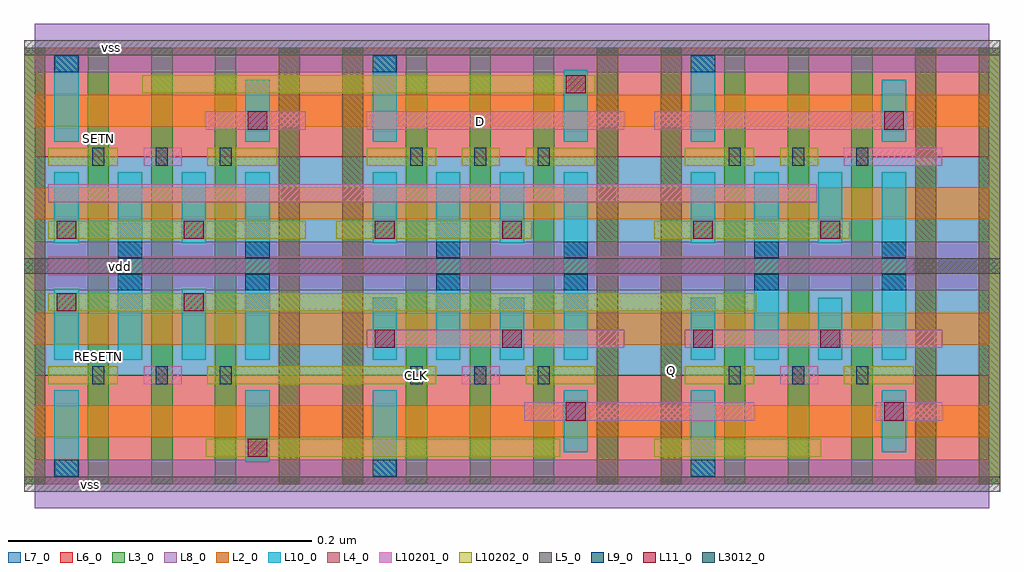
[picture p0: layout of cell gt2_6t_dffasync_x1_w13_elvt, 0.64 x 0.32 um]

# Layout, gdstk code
import gdstk
lib = gdstk.Library(unit=1e-6, precision=5e-10)
def R(c, l, rs):  # rectangles x0, y0, x1, y1
    for r in rs: c.add(gdstk.rectangle(r[:2], r[2:], *l))
def A(c, l, x, y, w, h, nx, ny, dx, dy):  # array of equal rectangles
    R(c, l, [(x+i*dx, y+j*dy, x+i*dx+w, y+j*dy+h) for i in range(nx) for j in range(ny)])
L2_0 = (2, 0)
L3_0 = (3, 0)
L4_0 = (4, 0)
L5_0 = (5, 0)
L6_0 = (6, 0)
L7_0 = (7, 0)
L8_0 = (8, 0)
L9_0 = (9, 0)
L10_0 = (10, 0)
L11_0 = (11, 0)
L3012_0 = (3012, 0)
L10201_0 = (10201, 0)
L10202_0 = (10202, 0)

gt2_6t_dffasync_x1_w13_e = lib.new_cell('gt2_6t_dffasync_x1_w13_elvt')
R(gt2_6t_dffasync_x1_w13_e, L2_0, [(0,0.031,0.63,0.052), (0,0.092,0.63,0.113), (0,0.175,0.63,0.196), (0,0.236,0.63,0.257)])
A(gt2_6t_dffasync_x1_w13_e, L3_0, -0.007, 0, 0.014, 0.288, 16, 1, 0.042, 0)
R(gt2_6t_dffasync_x1_w13_e, L4_0, [(-0.007,0,0.007,0.288), (0.161,0,0.175,0.288), (0.203,0,0.217,0.288), (0.371,0,0.385,0.288), (0.413,0,0.427,0.288), (0.581,0,0.595,0.288), (0.623,0,0.637,0.288)])
A(gt2_6t_dffasync_x1_w13_e, L5_0, -0.007, -0.005, 0.644, 0.01, 1, 3, 0, 0.144)
R(gt2_6t_dffasync_x1_w13_e, L6_0, [(0,0,0.63,0.072), (0,0.216,0.63,0.288)])
R(gt2_6t_dffasync_x1_w13_e, L7_0, [(0,0.072,0.63,0.216)])
A(gt2_6t_dffasync_x1_w13_e, L8_0, 0, -0.016, 0.63, 0.032, 1, 3, 0, 0.144)
A(gt2_6t_dffasync_x1_w13_e, L9_0, 0.013, 0.005, 0.016, 0.011, 3, 2, 0.21, 0.267)
R(gt2_6t_dffasync_x1_w13_e, L9_0, [(0.055,0.128,0.071,0.139), (0.139,0.128,0.155,0.139), (0.265,0.128,0.281,0.139), (0.349,0.128,0.365,0.139), (0.475,0.128,0.491,0.139), (0.559,0.128,0.575,0.139), (0.055,0.149,0.071,0.16), (0.139,0.149,0.155,0.16), (0.265,0.149,0.281,0.16), (0.349,0.149,0.365,0.16), (0.475,0.149,0.491,0.16), (0.559,0.149,0.575,0.16)])
A(gt2_6t_dffasync_x1_w13_e, L10_0, 0.013, 0.005, 0.016, 0.057, 3, 2, 0.21, 0.221)
R(gt2_6t_dffasync_x1_w13_e, L10_0, [(0.139,0.015,0.155,0.062), (0.349,0.021,0.365,0.062), (0.559,0.021,0.575,0.062), (0.013,0.082,0.029,0.129), (0.055,0.082,0.071,0.149), (0.097,0.082,0.113,0.129), (0.139,0.082,0.155,0.149), (0.223,0.082,0.239,0.123), (0.265,0.082,0.281,0.149), (0.307,0.082,0.323,0.123), (0.349,0.082,0.365,0.149), (0.433,0.082,0.449,0.123), (0.475,0.082,0.491,0.149), (0.517,0.082,0.533,0.123), (0.559,0.082,0.575,0.149), (0.055,0.149,0.071,0.206), (0.139,0.149,0.155,0.206), (0.265,0.149,0.281,0.206), (0.349,0.149,0.365,0.206), (0.475,0.149,0.491,0.206), (0.559,0.149,0.575,0.206), (0.013,0.159,0.029,0.206), (0.097,0.159,0.113,0.206), (0.223,0.159,0.239,0.206), (0.307,0.159,0.323,0.206), (0.433,0.159,0.449,0.206), (0.517,0.159,0.533,0.206), (0.139,0.226,0.155,0.267), (0.349,0.226,0.365,0.273), (0.559,0.226,0.575,0.267)])
R(gt2_6t_dffasync_x1_w13_e, L11_0, [(0.1405,0.018,0.1535,0.03), (0.3505,0.042,0.3635,0.054), (0.5605,0.042,0.5735,0.054), (0.2245,0.09,0.2375,0.102), (0.3085,0.09,0.3215,0.102), (0.4345,0.09,0.4475,0.102), (0.5185,0.09,0.5315,0.102), (0.0145,0.114,0.0275,0.126), (0.0985,0.114,0.1115,0.126), (0.0145,0.162,0.0275,0.174), (0.0985,0.162,0.1115,0.174), (0.2245,0.162,0.2375,0.174), (0.3085,0.162,0.3215,0.174), (0.4345,0.162,0.4475,0.174), (0.5185,0.162,0.5315,0.174), (0.1405,0.234,0.1535,0.246), (0.5605,0.234,0.5735,0.246), (0.3505,0.258,0.3635,0.27)])
A(gt2_6t_dffasync_x1_w13_e, L3012_0, 0.038, 0.066, 0.008, 0.012, 3, 2, 0.042, 0.144)
A(gt2_6t_dffasync_x1_w13_e, L3012_0, 0.248, 0.066, 0.008, 0.012, 3, 2, 0.042, 0.144)
A(gt2_6t_dffasync_x1_w13_e, L3012_0, 0.458, 0.066, 0.008, 0.012, 3, 2, 0.042, 0.144)
A(gt2_6t_dffasync_x1_w13_e, L10201_0, 0.072, 0.066, 0.025, 0.012, 3, 1, 0.21, 0)
R(gt2_6t_dffasync_x1_w13_e, L10201_0, [(0.323,0.042,0.475,0.054), (0.555,0.042,0.599,0.054), (0.219,0.09,0.389,0.102), (0.429,0.09,0.599,0.102), (0.009,0.138,0.58,0.15), (0.009,0.186,0.516,0.198), (0.072,0.21,0.097,0.222), (0.534,0.21,0.599,0.222), (0.113,0.234,0.179,0.246), (0.219,0.234,0.389,0.246), (0.409,0.234,0.58,0.246)])
A(gt2_6t_dffasync_x1_w13_e, L10202_0, 0.324, 0.066, 0.046, 0.012, 3, 1, 0.105, 0)
A(gt2_6t_dffasync_x1_w13_e, L10202_0, 0.009, 0.21, 0.046, 0.012, 5, 1, 0.105, 0)
R(gt2_6t_dffasync_x1_w13_e, L10202_0, [(0.113,0.018,0.347,0.03), (0.409,0.018,0.519,0.03), (0.009,0.066,0.055,0.078), (0.114,0.066,0.265,0.078), (0.009,0.114,0.476,0.126), (0.009,0.162,0.179,0.174), (0.199,0.162,0.328,0.174), (0.409,0.162,0.538,0.174), (0.282,0.21,0.307,0.222), (0.492,0.21,0.517,0.222), (0.071,0.258,0.37,0.27)])
gt2_6t_dffasync_x1_w13_e.add(gdstk.Label('SETN', (0.042,0.228), layer=25, texttype=251))
gt2_6t_dffasync_x1_w13_e.add(gdstk.Label('CLK', (0.252,0.072), layer=25, texttype=251))
gt2_6t_dffasync_x1_w13_e.add(gdstk.Label('Q', (0.42,0.075), layer=25, texttype=251))
gt2_6t_dffasync_x1_w13_e.add(gdstk.Label('RESETN', (0.042,0.084), layer=25, texttype=251))
gt2_6t_dffasync_x1_w13_e.add(gdstk.Label('D', (0.294,0.2395), layer=25, texttype=251))
gt2_6t_dffasync_x1_w13_e.add(gdstk.Label('vdd', (0.0565,0.144), layer=8, texttype=251))
gt2_6t_dffasync_x1_w13_e.add(gdstk.Label('vss', (0.037,0), layer=8, texttype=251))
gt2_6t_dffasync_x1_w13_e.add(gdstk.Label('vss', (0.051,0.288), layer=8, texttype=251))

lib.write_gds('gt2_6t_dffasync_x1_w13_elvt.gds')
